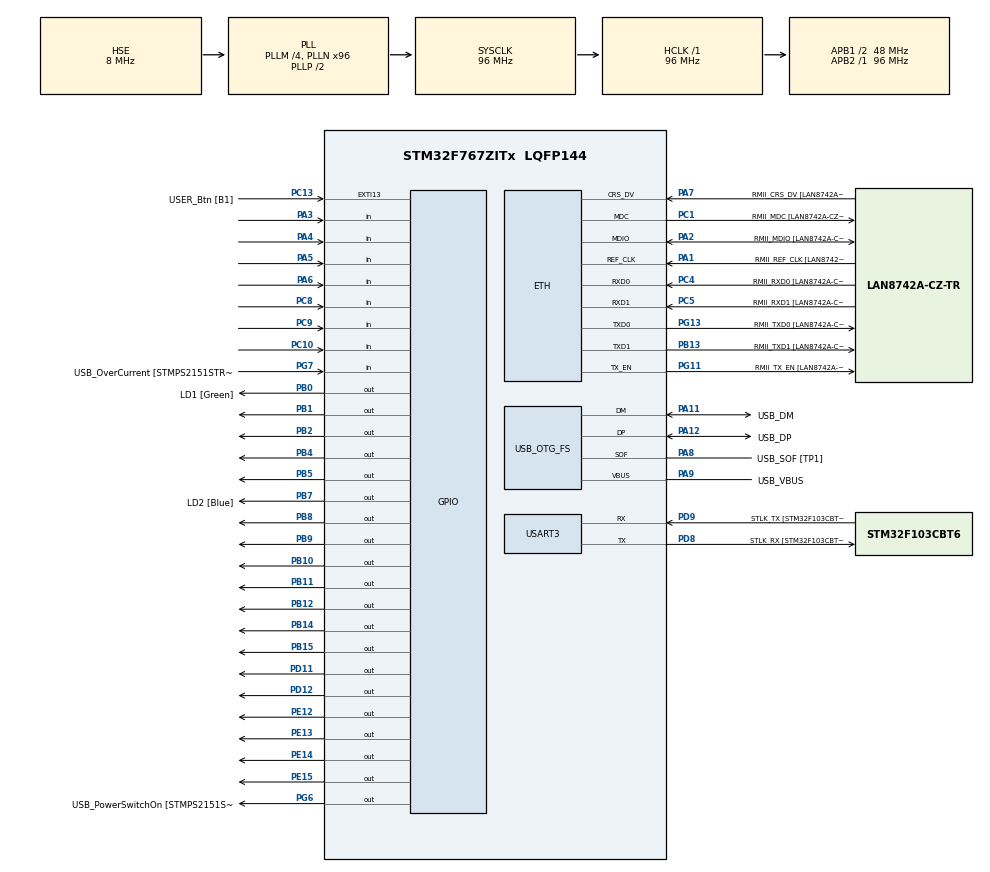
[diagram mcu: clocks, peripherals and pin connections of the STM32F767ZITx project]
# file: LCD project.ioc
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ETH.MediaInterface=HAL_ETH_RMII_MODE
ETH.PHY_Name=LAN8742A_PHY_ADDRESS
ETH.PHY_Value=0
ETH.PhyAddress=0
Mcu.Family=STM32F7
Mcu.Name=STM32F767ZITx
Mcu.Package=LQFP144
NVIC.PriorityGroup=NVIC_PRIORITYGROUP_4
PA1.GPIO_Label=RMII_REF_CLK [LAN8742A-CZ-TR_REFCLK0]
PA1.Mode=RMII
PA1.Signal=ETH_REF_CLK
PA10.GPIO_Label=USB_ID
PA10.Signal=USB_OTG_FS_ID
PA11.GPIO_Label=USB_DM
PA11.Mode=Device_Only
PA11.Signal=USB_OTG_FS_DM
PA12.GPIO_Label=USB_DP
PA12.Mode=Device_Only
PA12.Signal=USB_OTG_FS_DP
PA13.GPIO_Label=TMS
PA13.Mode=Serial_Wire
PA13.Signal=SYS_JTMS-SWDIO
PA14.GPIO_Label=TCK
PA14.Mode=Serial_Wire
PA14.Signal=SYS_JTCK-SWCLK
PA2.GPIO_Label=RMII_MDIO [LAN8742A-CZ-TR_MDIO]
PA2.Mode=RMII
PA2.Signal=ETH_MDIO
PA3.Signal=GPIO_Input
PA4.Signal=GPIO_Input
PA5.Signal=GPIO_Input
PA6.Signal=GPIO_Input
PA7.GPIO_Label=RMII_CRS_DV [LAN8742A-CZ-TR_CRS_DV]
PA7.Mode=RMII
PA7.Signal=ETH_CRS_DV
PA8.GPIO_Label=USB_SOF [TP1]
PA8.Mode=Activate_SOF_FS
PA8.Signal=USB_OTG_FS_SOF
PA9.GPIO_Label=USB_VBUS
PA9.Mode=Activate_VBUS
PA9.Signal=USB_OTG_FS_VBUS
PB0.GPIO_Label=LD1 [Green]
PB0.Signal=GPIO_Output
PB1.Signal=GPIO_Output
PB10.Signal=GPIO_Output
PB11.Signal=GPIO_Output
PB12.Signal=GPIO_Output
PB13.GPIO_Label=RMII_TXD1 [LAN8742A-CZ-TR_TXD1]
PB13.Mode=RMII
PB13.Signal=ETH_TXD1
PB14.Signal=GPIO_Output
PB15.Signal=GPIO_Output
PB2.Signal=GPIO_Output
PB3.GPIO_Label=SWO
PB3.Signal=SYS_JTDO-SWO
PB4.Signal=GPIO_Output
PB5.Signal=GPIO_Output
PB7.GPIO_Label=LD2 [Blue]
PB7.Signal=GPIO_Output
PB8.Signal=GPIO_Output
PB9.Signal=GPIO_Output
PC1.GPIO_Label=RMII_MDC [LAN8742A-CZ-TR_MDC]
PC1.Mode=RMII
PC1.Signal=ETH_MDC
PC10.Signal=GPIO_Input
PC13.GPIO_Label=USER_Btn [B1]
PC13.Signal=GPXTI13
PC14/OSC32_IN.Mode=LSE-External-Oscillator
PC14/OSC32_IN.Signal=RCC_OSC32_IN
PC15/OSC32_OUT.Mode=LSE-External-Oscillator
PC15/OSC32_OUT.Signal=RCC_OSC32_OUT
PC4.GPIO_Label=RMII_RXD0 [LAN8742A-CZ-TR_RXD0]
PC4.Mode=RMII
PC4.Signal=ETH_RXD0
PC5.GPIO_Label=RMII_RXD1 [LAN8742A-CZ-TR_RXD1]
PC5.Mode=RMII
PC5.Signal=ETH_RXD1
PC8.Signal=GPIO_Input
PC9.Signal=GPIO_Input
PD11.Signal=GPIO_Output
PD12.Signal=GPIO_Output
PD8.GPIO_Label=STLK_RX [STM32F103CBT6_PA3]
PD8.Mode=Asynchronous
PD8.Signal=USART3_TX
PD9.GPIO_Label=STLK_TX [STM32F103CBT6_PA2]
PD9.Mode=Asynchronous
PD9.Signal=USART3_RX
PE12.Signal=GPIO_Output
PE13.Signal=GPIO_Output
PE14.Signal=GPIO_Output
PE15.Signal=GPIO_Output
PG11.GPIO_Label=RMII_TX_EN [LAN8742A-CZ-TR_TXEN]
PG11.Mode=RMII
PG11.Signal=ETH_TX_EN
PG13.GPIO_Label=RMII_TXD0 [LAN8742A-CZ-TR_TXD0]
PG13.Mode=RMII
PG13.Signal=ETH_TXD0
PG6.GPIO_Label=USB_PowerSwitchOn [STMPS2151STR_EN]
PG6.Signal=GPIO_Output
PG7.GPIO_Label=USB_OverCurrent [STMPS2151STR_FAULT]
PG7.Signal=GPIO_Input
PH0/OSC_IN.GPIO_Label=MCO [STM32F103CBT6_PA8]
PH0/OSC_IN.Mode=HSE-External-Clock-Source
PH0/OSC_IN.Signal=RCC_OSC_IN
PH1/OSC_OUT.Mode=HSE-External-Clock-Source
PH1/OSC_OUT.Signal=RCC_OSC_OUT
ProjectManager.HeapSize=0x200
ProjectManager.StackSize=0x400
ProjectManager.TargetToolchain=STM32CubeIDE
RCC.48MHZClocksFreq_Value=24000000
RCC.AHBFreq_Value=96000000
RCC.APB1CLKDivider=RCC_HCLK_DIV2
RCC.APB1Freq_Value=48000000
RCC.APB1TimFreq_Value=96000000
RCC.APB2Freq_Value=96000000
RCC.APB2TimFreq_Value=96000000
RCC.CortexFreq_Value=96000000
RCC.HCLKFreq_Value=96000000
RCC.HSE_VALUE=8000000
RCC.HSI_VALUE=16000000
RCC.PLLM=4
RCC.PLLMUL=RCC_PLL_MUL9
RCC.PLLN=96
RCC.PLLQ=4
RCC.PRESCALERUSB=RCC_USBCLKSOURCE_PLL_DIV1_5
RCC.SYSCLKFreq_VALUE=96000000
RCC.SYSCLKSource=RCC_SYSCLKSOURCE_PLLCLK
RCC.SYSCLKSourceVirtual=RCC_SYSCLKSOURCE_PLLCLK
RCC.USBFreq_Value=48000000
RCC.VCOOutputFreq_Value=192000000
USART3.VirtualMode-Asynchronous=VM_ASYNC
USB_OTG_FS.VirtualMode=Device_Only
board=NUCLEO-F767ZI

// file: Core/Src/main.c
/* USER CODE BEGIN Header */
/**
  ******************************************************************************
  * @file           : main.c
  * @brief          : Main program body
  ******************************************************************************
  * @attention
  *
  * Copyright (c) 2024 STMicroelectronics.
  * All rights reserved.
  *
  * This software is licensed under terms that can be found in the LICENSE file
  * in the root directory of this software component.
  * If no LICENSE file comes with this software, it is provided AS-IS.
  *
  ******************************************************************************
  */
/* USER CODE END Header */
#include "main.h"
#include "string.h"

/* USER CODE BEGIN PD */
uint8_t first;
uint8_t second;
uint8_t line;

const uint16_t SEGMENT_PINS_1[9] = { GPIO_PIN_1, GPIO_PIN_2, GPIO_PIN_4, GPIO_PIN_5,
                                     GPIO_PIN_8, GPIO_PIN_9, GPIO_PIN_10, GPIO_PIN_12, GPIO_PIN_14};

const uint16_t SEGMENT_PINS_2[9] = { GPIO_PIN_1, GPIO_PIN_2, GPIO_PIN_4, GPIO_PIN_5,
                                     GPIO_PIN_8, GPIO_PIN_9, GPIO_PIN_10, GPIO_PIN_12, GPIO_PIN_15};

#define SEGMENT_PORT GPIOB

const uint16_t LCD_PINS[9] = { GPIO_PIN_12, GPIO_PIN_13, GPIO_PIN_14, GPIO_PIN_15};

#define LCD_PORT GPIOE

const uint16_t HEX_TO_SEGMENT[16] = {
	0b111000000, // 0
	0b111111001, // 1
	0b110100100, // 2
	0b110110000, // 3
	0b110011001, // 4
	0b110010010, // 5
	0b110000010, // 6
	0b111111000, // 7
	0b110000000, // 8
	0b110010000, // 9
	0b110001000, // A
	0b110000011, // B
	0b111000110, // C
	0b110100001, // D
	0b110000110, // E
	0b110001110  // F
};

const uint8_t NO_SEGMENT[1] = {
	0b000000000
};

const uint16_t HEX_TO_CHAR[16] = {
	0b0000,  //0
	0b0001,  //1
	0b0010,  //2
	0b0011,  //3
	0b0100,  //4
	0b0101,  //5
	0b0110,  //6
	0b0111,  //7
	0b1000,  //8
	0b1001,  //9
	0b1010,  //A
	0b1011,  //B
	0b1100,  //C
	0b1101,  //D
	0b1110,  //E
	0b1111   //F

};

const uint16_t START_SEQ[9] = {
	0b0010,
	0b0010,
	0b1100,
	0b0000,
	0b0001,
	0b0000,
	0b0010,
	0b0000,
	0b1100
	//0b1100,
	//0b0000
};

const uint16_t BOTTOM_ROW[4] = {
	0b0000,
	0b0000,
	0b1100,
	0b0000
};

const uint16_t OUR_NAMES[] ={

};

/* USER CODE END PD */

#if defined ( __ICCARM__ ) /*!< IAR Compiler */
#pragma location=0x2007c000
ETH_DMADescTypeDef  DMARxDscrTab[ETH_RX_DESC_CNT]; /* Ethernet Rx DMA Descriptors */
#pragma location=0x2007c0a0
ETH_DMADescTypeDef  DMATxDscrTab[ETH_TX_DESC_CNT]; /* Ethernet Tx DMA Descriptors */

#elif defined ( __CC_ARM )  /* MDK ARM Compiler */

__attribute__((at(0x2007c000))) ETH_DMADescTypeDef  DMARxDscrTab[ETH_RX_DESC_CNT]; /* Ethernet Rx DMA Descriptors */
__attribute__((at(0x2007c0a0))) ETH_DMADescTypeDef  DMATxDscrTab[ETH_TX_DESC_CNT]; /* Ethernet Tx DMA Descriptors */

#elif defined ( __GNUC__ ) /* GNU Compiler */

ETH_DMADescTypeDef DMARxDscrTab[ETH_RX_DESC_CNT] __attribute__((section(".RxDecripSection"))); /* Ethernet Rx DMA Descriptors */
ETH_DMADescTypeDef DMATxDscrTab[ETH_TX_DESC_CNT] __attribute__((section(".TxDecripSection")));   /* Ethernet Tx DMA Descriptors */
#endif

ETH_TxPacketConfig TxConfig;

ETH_HandleTypeDef heth;

UART_HandleTypeDef huart3;

PCD_HandleTypeDef hpcd_USB_OTG_FS;

void SystemClock_Config(void);
static void MX_GPIO_Init(void);
static void MX_ETH_Init(void);
static void MX_USART3_UART_Init(void);
static void MX_USB_OTG_FS_PCD_Init(void);

/* USER CODE BEGIN 0 */

void display_digit_1() {

		// Updates each segment by looking at the i'th binary digit to turn on or off the corresponding led of the 7 segment led. we used bitsifting by i to get the correct digit value.
		for (int i = 0; i < 9; i++) {
			HAL_GPIO_WritePin(SEGMENT_PORT, SEGMENT_PINS_1[i], (HEX_TO_SEGMENT[first] >> i) & 0x01);
		}
}
void display_digit_2() {

		// Updates each segment by looking at the i'th binary digit to turn on or off the corresponding led of the 7 segment led. we used bitsifting by i to get the correct digit value.
		for (int i = 0; i < 9; i++) {
			HAL_GPIO_WritePin(SEGMENT_PORT, SEGMENT_PINS_2[i], (HEX_TO_SEGMENT[second] >> i) & 0x01);
		}
}

void close_disp_1(){

	HAL_GPIO_WritePin(SEGMENT_PORT, SEGMENT_PINS_1[8], (NO_SEGMENT[0] >> 8) & 0x01);

}

void close_disp_2(){

	HAL_GPIO_WritePin(SEGMENT_PORT, SEGMENT_PINS_2[8], (NO_SEGMENT[0] >> 8) & 0x01);

}

void start_up(){

	HAL_Delay(10);

	for(int j = 0; j < 9; j++){

		for (int i = 0; i < 4; i++) {
			HAL_GPIO_WritePin(LCD_PORT, LCD_PINS[i], (START_SEQ[j] >> i) & 0x01);
		}

		HAL_Delay(5);

		HAL_GPIO_WritePin(GPIOD, GPIO_PIN_11, GPIO_PIN_SET);

		HAL_Delay(5);

		HAL_GPIO_WritePin(GPIOD, GPIO_PIN_11, GPIO_PIN_RESET);

		HAL_Delay(5);

	}

	line = 0;

}

void bottom_row(){

	//writing our names to display and setting cursor to the second line
	get_digit_and_write_to_disp(4,5);
	get_digit_and_write_to_disp(6,7);
	get_digit_and_write_to_disp(6,5);
	get_digit_and_write_to_disp(2,0);
	get_digit_and_write_to_disp(2,13);
	get_digit_and_write_to_disp(2,0);
	get_digit_and_write_to_disp(4,5);
	get_digit_and_write_to_disp(6,13);
	get_digit_and_write_to_disp(7,2);
	get_digit_and_write_to_disp(6,5);

	for(int j = 0; j < 2; j++){

		if (line == 0){
			for (int i = 0; i < 4; i++) {
				HAL_GPIO_WritePin(LCD_PORT, LCD_PINS[i], (BOTTOM_ROW[j] >> i) & 0x01);
			}

			line = 1;

		}

		if (line == 1){
			for (int i = 0; i < 4; i++) {
				HAL_GPIO_WritePin(LCD_PORT, LCD_PINS[i], (BOTTOM_ROW[j+2] >> i) & 0x01);
			}

			line = 0;

		}

		HAL_Delay(5);

		HAL_GPIO_WritePin(GPIOD, GPIO_PIN_11, GPIO_PIN_SET);

		HAL_Delay(5);

		HAL_GPIO_WritePin(GPIOD, GPIO_PIN_11, GPIO_PIN_RESET);

		HAL_Delay(5);

	}

}

void get_digit_and_write_to_disp(uint8_t a, uint8_t b){

	HAL_GPIO_WritePin(GPIOD, GPIO_PIN_12, GPIO_PIN_SET);

	for (int i = 0; i < 4; i++) {
		HAL_GPIO_WritePin(LCD_PORT, LCD_PINS[i], (HEX_TO_CHAR[a] >> i) & 0x01);
	}

	HAL_Delay(5);

	HAL_GPIO_WritePin(GPIOD, GPIO_PIN_11, GPIO_PIN_SET);

	HAL_Delay(5);

	HAL_GPIO_WritePin(GPIOD, GPIO_PIN_11, GPIO_PIN_RESET);

	HAL_Delay(5);

	for (int i = 0; i < 4; i++) {
		HAL_GPIO_WritePin(LCD_PORT, LCD_PINS[i], (HEX_TO_CHAR[b] >> i) & 0x01);
	}

	HAL_Delay(5);

	HAL_GPIO_WritePin(GPIOD, GPIO_PIN_11, GPIO_PIN_SET);

	HAL_Delay(5);

	HAL_GPIO_WritePin(GPIOD, GPIO_PIN_11, GPIO_PIN_RESET);

	HAL_Delay(5);

	HAL_GPIO_WritePin(GPIOD, GPIO_PIN_12, GPIO_PIN_RESET);

}

/* USER CODE END 0 */

int main(void)
{

  /* MCU Configuration--------------------------------------------------------*/

  /* Reset of all peripherals, Initializes the Flash interface and the Systick. */
  HAL_Init();

  /* USER CODE BEGIN Init */
  GPIO_InitTypeDef GPIO_InitStruct_1 = {0};
  GPIO_InitStruct_1.Pin = SEGMENT_PINS_1[0] | SEGMENT_PINS_1[1] | SEGMENT_PINS_1[2] |
		  	  	  	  	  SEGMENT_PINS_1[3] | SEGMENT_PINS_1[4] | SEGMENT_PINS_1[5] |
						  SEGMENT_PINS_1[6] | SEGMENT_PINS_1[7] | SEGMENT_PINS_1[8];
  GPIO_InitStruct_1.Mode  = GPIO_MODE_OUTPUT_PP;
  GPIO_InitStruct_1.Pull  = GPIO_NOPULL;
  GPIO_InitStruct_1.Speed = GPIO_SPEED_FREQ_LOW;
  HAL_GPIO_Init(SEGMENT_PORT, &GPIO_InitStruct_1);

  GPIO_InitTypeDef GPIO_InitStruct_2 = {0};
  GPIO_InitStruct_2.Pin = SEGMENT_PINS_2[0] | SEGMENT_PINS_2[1] | SEGMENT_PINS_2[2] |
		   	   	   	   	  SEGMENT_PINS_2[3] | SEGMENT_PINS_2[4] | SEGMENT_PINS_2[5] |
						  SEGMENT_PINS_2[6] | SEGMENT_PINS_2[7] | SEGMENT_PINS_2[8];
  GPIO_InitStruct_2.Mode  = GPIO_MODE_OUTPUT_PP;
  GPIO_InitStruct_2.Pull  = GPIO_NOPULL;
  GPIO_InitStruct_2.Speed = GPIO_SPEED_FREQ_LOW;
  HAL_GPIO_Init(SEGMENT_PORT, &GPIO_InitStruct_2);

  GPIO_InitTypeDef GPIO_InitStruct_3 = {0};
  GPIO_InitStruct_3.Pin   = LCD_PINS[0] | LCD_PINS[1] | LCD_PINS[2] | LCD_PINS[3];
  GPIO_InitStruct_3.Mode  = GPIO_MODE_OUTPUT_PP;
  GPIO_InitStruct_3.Pull  = GPIO_NOPULL;
  GPIO_InitStruct_3.Speed = GPIO_SPEED_FREQ_LOW;
  HAL_GPIO_Init(LCD_PORT, &GPIO_InitStruct_3);

  /* USER CODE END Init */

  /* Configure the system clock */
  SystemClock_Config();

  /* Initialize all configured peripherals */
  MX_GPIO_Init();
  MX_ETH_Init();
  MX_USART3_UART_Init();
  MX_USB_OTG_FS_PCD_Init();
  /* USER CODE BEGIN 2 */

  first = 0;
  second = 0;
  line = 0;

  start_up();

  /* USER CODE END 2 */

  /* Infinite loop */
  /* USER CODE BEGIN WHILE */
  while (1)
  {

	  // Count 1
	  if (HAL_GPIO_ReadPin(GPIOA, GPIO_PIN_4) == GPIO_PIN_RESET) {
		  if(first <= 15){
			  first = (first + 1);
		  }
	  }

	  // Decount 1
	  if (HAL_GPIO_ReadPin(GPIOA, GPIO_PIN_6) == GPIO_PIN_RESET) {
		  if(first >= 1){
			  first = (first - 1);
		  }
	  }

	  // Count 2
	  if (HAL_GPIO_ReadPin(GPIOC, GPIO_PIN_9) == GPIO_PIN_RESET) {
		  if(second <= 15){
			second = (second + 1);
		  }
	  }

	  // Decount 2
	  if (HAL_GPIO_ReadPin(GPIOC, GPIO_PIN_8) == GPIO_PIN_RESET) {
		  if(second >= 1){
			  second = (second - 1);
		  }
	  }

	  if (HAL_GPIO_ReadPin(GPIOA, GPIO_PIN_3) == GPIO_PIN_SET) {
		  get_digit_and_write_to_disp(first, second);
	  }

	  if (HAL_GPIO_ReadPin(GPIOA, GPIO_PIN_5) == GPIO_PIN_SET) {
		  start_up();
	  }

	  if (HAL_GPIO_ReadPin(GPIOC, GPIO_PIN_10) == GPIO_PIN_SET) {
		  bottom_row();
	  }

	  // Display
	  display_digit_1(first);
	  HAL_Delay(25);
	  close_disp_1();
	  display_digit_2(second);
	  HAL_Delay(25);
	  close_disp_2();

    /* USER CODE END WHILE */

  }
}

void SystemClock_Config(void)
{
  RCC_OscInitTypeDef RCC_OscInitStruct = {0};
  RCC_ClkInitTypeDef RCC_ClkInitStruct = {0};

  /** Configure LSE Drive Capability
  */
  HAL_PWR_EnableBkUpAccess();

  /** Configure the main internal regulator output voltage
  */
  __HAL_RCC_PWR_CLK_ENABLE();
  __HAL_PWR_VOLTAGESCALING_CONFIG(PWR_REGULATOR_VOLTAGE_SCALE3);

  /** Initializes the RCC Oscillators according to the specified parameters
  * in the RCC_OscInitTypeDef structure.
  */
  RCC_OscInitStruct.OscillatorType = RCC_OSCILLATORTYPE_HSE;
  RCC_OscInitStruct.HSEState = RCC_HSE_BYPASS;
  RCC_OscInitStruct.PLL.PLLState = RCC_PLL_ON;
  RCC_OscInitStruct.PLL.PLLSource = RCC_PLLSOURCE_HSE;
  RCC_OscInitStruct.PLL.PLLM = 4;
  RCC_OscInitStruct.PLL.PLLN = 96;
  RCC_OscInitStruct.PLL.PLLP = RCC_PLLP_DIV2;
  RCC_OscInitStruct.PLL.PLLQ = 4;
  RCC_OscInitStruct.PLL.PLLR = 2;
  if (HAL_RCC_OscConfig(&RCC_OscInitStruct) != HAL_OK)
  {
    Error_Handler();
  }

  /** Activate the Over-Drive mode
  */
  if (HAL_PWREx_EnableOverDrive() != HAL_OK)
  {
    Error_Handler();
  }

  /** Initializes the CPU, AHB and APB buses clocks
  */
  RCC_ClkInitStruct.ClockType = RCC_CLOCKTYPE_HCLK|RCC_CLOCKTYPE_SYSCLK
                              |RCC_CLOCKTYPE_PCLK1|RCC_CLOCKTYPE_PCLK2;
  RCC_ClkInitStruct.SYSCLKSource = RCC_SYSCLKSOURCE_PLLCLK;
  RCC_ClkInitStruct.AHBCLKDivider = RCC_SYSCLK_DIV1;
  RCC_ClkInitStruct.APB1CLKDivider = RCC_HCLK_DIV2;
  RCC_ClkInitStruct.APB2CLKDivider = RCC_HCLK_DIV1;

  if (HAL_RCC_ClockConfig(&RCC_ClkInitStruct, FLASH_LATENCY_3) != HAL_OK)
  {
    Error_Handler();
  }
}

static void MX_ETH_Init(void)
{

   static uint8_t MACAddr[6];

  heth.Instance = ETH;
  MACAddr[0] = 0x00;
  MACAddr[1] = 0x80;
  MACAddr[2] = 0xE1;
  MACAddr[3] = 0x00;
  MACAddr[4] = 0x00;
  MACAddr[5] = 0x00;
  heth.Init.MACAddr = &MACAddr[0];
  heth.Init.MediaInterface = HAL_ETH_RMII_MODE;
  heth.Init.TxDesc = DMATxDscrTab;
  heth.Init.RxDesc = DMARxDscrTab;
  heth.Init.RxBuffLen = 1524;

  if (HAL_ETH_Init(&heth) != HAL_OK)
  {
    Error_Handler();
  }

  memset(&TxConfig, 0 , sizeof(ETH_TxPacketConfig));
  TxConfig.Attributes = ETH_TX_PACKETS_FEATURES_CSUM | ETH_TX_PACKETS_FEATURES_CRCPAD;
  TxConfig.ChecksumCtrl = ETH_CHECKSUM_IPHDR_PAYLOAD_INSERT_PHDR_CALC;
  TxConfig.CRCPadCtrl = ETH_CRC_PAD_INSERT;

}

static void MX_USART3_UART_Init(void)
{

  huart3.Instance = USART3;
  huart3.Init.BaudRate = 115200;
  huart3.Init.WordLength = UART_WORDLENGTH_8B;
  huart3.Init.StopBits = UART_STOPBITS_1;
  huart3.Init.Parity = UART_PARITY_NONE;
  huart3.Init.Mode = UART_MODE_TX_RX;
  huart3.Init.HwFlowCtl = UART_HWCONTROL_NONE;
  huart3.Init.OverSampling = UART_OVERSAMPLING_16;
  huart3.Init.OneBitSampling = UART_ONE_BIT_SAMPLE_DISABLE;
  huart3.AdvancedInit.AdvFeatureInit = UART_ADVFEATURE_NO_INIT;
  if (HAL_UART_Init(&huart3) != HAL_OK)
  {
    Error_Handler();
  }

}

static void MX_USB_OTG_FS_PCD_Init(void)
{

  hpcd_USB_OTG_FS.Instance = USB_OTG_FS;
  hpcd_USB_OTG_FS.Init.dev_endpoints = 6;
  hpcd_USB_OTG_FS.Init.speed = PCD_SPEED_FULL;
  hpcd_USB_OTG_FS.Init.dma_enable = DISABLE;
  hpcd_USB_OTG_FS.Init.phy_itface = PCD_PHY_EMBEDDED;
  hpcd_USB_OTG_FS.Init.Sof_enable = ENABLE;
  hpcd_USB_OTG_FS.Init.low_power_enable = DISABLE;
  hpcd_USB_OTG_FS.Init.lpm_enable = DISABLE;
  hpcd_USB_OTG_FS.Init.vbus_sensing_enable = ENABLE;
  hpcd_USB_OTG_FS.Init.use_dedicated_ep1 = DISABLE;
  if (HAL_PCD_Init(&hpcd_USB_OTG_FS) != HAL_OK)
  {
    Error_Handler();
  }

}

static void MX_GPIO_Init(void)
{
  GPIO_InitTypeDef GPIO_InitStruct = {0};

  /* GPIO Ports Clock Enable */
  __HAL_RCC_GPIOC_CLK_ENABLE();
  __HAL_RCC_GPIOH_CLK_ENABLE();
  __HAL_RCC_GPIOA_CLK_ENABLE();
  __HAL_RCC_GPIOB_CLK_ENABLE();
  __HAL_RCC_GPIOE_CLK_ENABLE();
  __HAL_RCC_GPIOD_CLK_ENABLE();
  __HAL_RCC_GPIOG_CLK_ENABLE();

  /*Configure GPIO pin Output Level */
  HAL_GPIO_WritePin(GPIOB, LD1_Pin|GPIO_PIN_1|GPIO_PIN_2|GPIO_PIN_10
                          |GPIO_PIN_11|GPIO_PIN_12|GPIO_PIN_14|GPIO_PIN_15
                          |GPIO_PIN_4|GPIO_PIN_5|LD2_Pin|GPIO_PIN_8
                          |GPIO_PIN_9, GPIO_PIN_RESET);

  /*Configure GPIO pin Output Level */
  HAL_GPIO_WritePin(GPIOE, GPIO_PIN_12|GPIO_PIN_13|GPIO_PIN_14|GPIO_PIN_15, GPIO_PIN_RESET);

  /*Configure GPIO pin Output Level */
  HAL_GPIO_WritePin(GPIOD, GPIO_PIN_11|GPIO_PIN_12, GPIO_PIN_RESET);

  /*Configure GPIO pin Output Level */
  HAL_GPIO_WritePin(USB_PowerSwitchOn_GPIO_Port, USB_PowerSwitchOn_Pin, GPIO_PIN_RESET);

  /*Configure GPIO pin : USER_Btn_Pin */
  GPIO_InitStruct.Pin = USER_Btn_Pin;
  GPIO_InitStruct.Mode = GPIO_MODE_IT_RISING;
  GPIO_InitStruct.Pull = GPIO_NOPULL;
  HAL_GPIO_Init(USER_Btn_GPIO_Port, &GPIO_InitStruct);

  /*Configure GPIO pins : PA3 PA4 PA5 PA6 */
  GPIO_InitStruct.Pin = GPIO_PIN_3|GPIO_PIN_4|GPIO_PIN_5|GPIO_PIN_6;
  GPIO_InitStruct.Mode = GPIO_MODE_INPUT;
  GPIO_InitStruct.Pull = GPIO_NOPULL;
  HAL_GPIO_Init(GPIOA, &GPIO_InitStruct);

  /*Configure GPIO pins : LD1_Pin PB1 PB2 PB10
                           PB11 PB12 PB14 PB15
                           PB4 PB5 LD2_Pin PB8
                           PB9 */
  GPIO_InitStruct.Pin = LD1_Pin|GPIO_PIN_1|GPIO_PIN_2|GPIO_PIN_10
                          |GPIO_PIN_11|GPIO_PIN_12|GPIO_PIN_14|GPIO_PIN_15
                          |GPIO_PIN_4|GPIO_PIN_5|LD2_Pin|GPIO_PIN_8
                          |GPIO_PIN_9;
  GPIO_InitStruct.Mode = GPIO_MODE_OUTPUT_PP;
  GPIO_InitStruct.Pull = GPIO_NOPULL;
  GPIO_InitStruct.Speed = GPIO_SPEED_FREQ_LOW;
  HAL_GPIO_Init(GPIOB, &GPIO_InitStruct);

  /*Configure GPIO pins : PE12 PE13 PE14 PE15 */
  GPIO_InitStruct.Pin = GPIO_PIN_12|GPIO_PIN_13|GPIO_PIN_14|GPIO_PIN_15;
  GPIO_InitStruct.Mode = GPIO_MODE_OUTPUT_PP;
  GPIO_InitStruct.Pull = GPIO_NOPULL;
  GPIO_InitStruct.Speed = GPIO_SPEED_FREQ_LOW;
  HAL_GPIO_Init(GPIOE, &GPIO_InitStruct);

  /*Configure GPIO pins : PD11 PD12 */
  GPIO_InitStruct.Pin = GPIO_PIN_11|GPIO_PIN_12;
  GPIO_InitStruct.Mode = GPIO_MODE_OUTPUT_PP;
  GPIO_InitStruct.Pull = GPIO_NOPULL;
  GPIO_InitStruct.Speed = GPIO_SPEED_FREQ_LOW;
  HAL_GPIO_Init(GPIOD, &GPIO_InitStruct);

  /*Configure GPIO pin : USB_PowerSwitchOn_Pin */
  GPIO_InitStruct.Pin = USB_PowerSwitchOn_Pin;
  GPIO_InitStruct.Mode = GPIO_MODE_OUTPUT_PP;
  GPIO_InitStruct.Pull = GPIO_NOPULL;
  GPIO_InitStruct.Speed = GPIO_SPEED_FREQ_LOW;
  HAL_GPIO_Init(USB_PowerSwitchOn_GPIO_Port, &GPIO_InitStruct);

  /*Configure GPIO pin : USB_OverCurrent_Pin */
  GPIO_InitStruct.Pin = USB_OverCurrent_Pin;
  GPIO_InitStruct.Mode = GPIO_MODE_INPUT;
  GPIO_InitStruct.Pull = GPIO_NOPULL;
  HAL_GPIO_Init(USB_OverCurrent_GPIO_Port, &GPIO_InitStruct);

  /*Configure GPIO pins : PC8 PC9 PC10 */
  GPIO_InitStruct.Pin = GPIO_PIN_8|GPIO_PIN_9|GPIO_PIN_10;
  GPIO_InitStruct.Mode = GPIO_MODE_INPUT;
  GPIO_InitStruct.Pull = GPIO_NOPULL;
  HAL_GPIO_Init(GPIOC, &GPIO_InitStruct);

}

void Error_Handler(void)
{
  __disable_irq();
  while (1)
  {
  }
}
